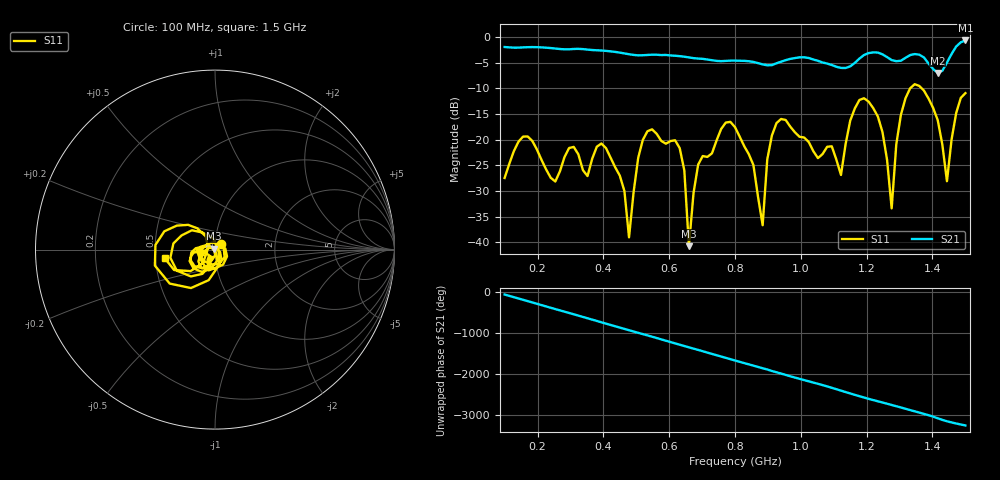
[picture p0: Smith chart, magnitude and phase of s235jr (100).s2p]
! NanoVNA-App
! Date: 2025-09-25 15:04:56
! Start: 100MHz Stop: 1,5GHz Points: 101
! S-Parameter data: F S11 S21 S12 S22
# Hz S RI R 50
!  Frequency  S11_Real  S11_Imag  S21_Real  S21_Imag  S12_Real  S12_Imag  S22_Real  S22_Imag
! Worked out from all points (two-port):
!   101 points, 100 MHz to 1.5 GHz, reference 50 ohm
!   highest |S21| = -0.69 dB at 1.5 GHz (marker M1); lowest = -7.0 dB at 1.416 GHz (marker M2)
!   |S21| within 3 dB of the highest: start of sweep to 622.3 MHz; 1.189 GHz to 1.256 GHz (67.05 MHz wide, 5.49 % of centre) (the widest 2 of 4)
!   lowest |S11| = -40.8 dB at 660 MHz (marker M3), VSWR 1.02, Z = 49.3 + j0.586 ohm
!   |S11| at or under -10 dB: start of sweep to 1.332 GHz; 1.367 GHz to end of sweep
!   S12 and S22 are empty: the file has one direction only
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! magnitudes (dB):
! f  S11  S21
! 100 MHz  -27.5  -2.0
! 156 MHz  -19.4  -2.0
! 338 MHz  -26.0  -2.4
! 408 MHz  -21.7  -2.7
! 478 MHz  -39.0  -3.4
! 520 MHz  -20.0  -3.6
! 576 MHz  -20.3  -3.5
! 632 MHz  -21.7  -3.7
! 660 MHz  -40.8  -4.0
! 688 MHz  -24.9  -4.2
! 800 MHz  -17.6  -4.6
! 884 MHz  -36.7  -5.4
! 926 MHz  -16.8  -5.1
! 1.038 GHz  -22.3  -4.4
! 1.122 GHz  -26.9  -6.0
! 1.192 GHz  -11.9  -3.5
! 1.248 GHz  -18.5  -3.4
! 1.276 GHz  -33.4  -4.5
! 1.332 GHz  -10.0  -3.5
! 1.416 GHz  -16.2  -7.0
! 1.444 GHz  -28.1  -5.0
! 1.5 GHz  -11.0  -0.7
